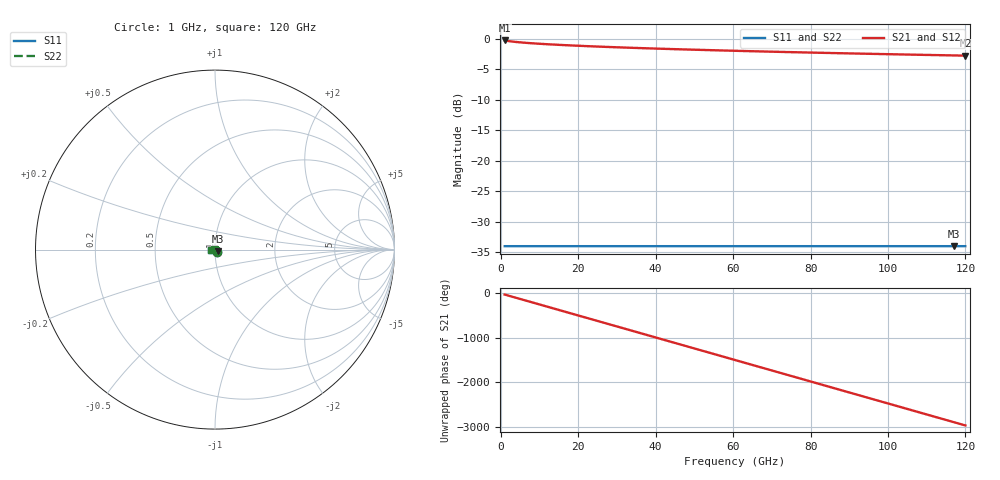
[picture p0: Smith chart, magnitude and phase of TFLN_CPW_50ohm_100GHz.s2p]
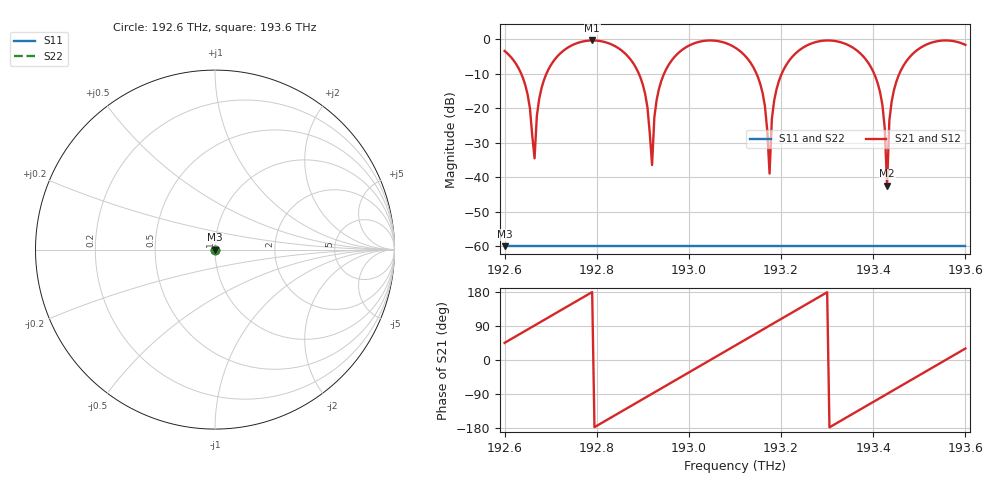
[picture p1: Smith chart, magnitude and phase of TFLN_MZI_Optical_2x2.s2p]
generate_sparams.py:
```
#!/usr/bin/env python3
"""
Touchstone S-Parameter File Generator
LightRail AI LR-P3A Rev 6.3 — Quantum Photonic Accelerator

Generates analytical S-parameter models (.s2p, .s4p) for key QPA RF
structures, suitable for import into:
  - Ansys HFSS (verification / co-simulation)
  - Ansys SIwave (channel simulation)
  - Lumerical INTERCONNECT (photonic-electronic co-simulation)
  - Keysight ADS / Cadence Virtuoso
  - Any SPICE simulator with Touchstone support

Output files:
  TFLN_CPW_50ohm_100GHz.s2p     — 2-port CPW transmission line
  TFLN_MZI_Optical_2x2.s2p      — 2-port MZI optical transfer function
  CXL_Diff_Pair_85ohm.s4p       — 4-port CXL 2.0 differential pair
  LVDS_Trigger_100ohm.s2p       — 2-port LVDS trigger channel

Usage:
    python3 generate_sparams.py
"""

import numpy as np
import os

OUTPUT_DIR = os.path.dirname(os.path.abspath(__file__))


def write_touchstone_s2p(filepath, freqs_ghz, s11, s21, s12, s22,
                         z0=50.0, comment=""):
    """Write a Touchstone v1 .s2p file (2-port, complex S-parameters)."""
    with open(filepath, "w") as f:
        f.write(f"! Touchstone S2P File\n")
        f.write(f"! LightRail AI LR-P3A Rev 6.3 — QPA\n")
        if comment:
            f.write(f"! {comment}\n")
        f.write(f"! Generated by generate_sparams.py\n")
        f.write(f"!\n")
        f.write(f"# GHz S RI R {z0:.1f}\n")
        f.write(f"! freq        Re(S11)     Im(S11)     "
                f"Re(S21)     Im(S21)     "
                f"Re(S12)     Im(S12)     "
                f"Re(S22)     Im(S22)\n")
        for i in range(len(freqs_ghz)):
            f.write(f"{freqs_ghz[i]:12.4f}  "
                    f"{s11[i].real:12.6f} {s11[i].imag:12.6f}  "
                    f"{s21[i].real:12.6f} {s21[i].imag:12.6f}  "
                    f"{s12[i].real:12.6f} {s12[i].imag:12.6f}  "
                    f"{s22[i].real:12.6f} {s22[i].imag:12.6f}\n")
    print(f"  Generated: {filepath}")


def write_touchstone_s4p(filepath, freqs_ghz, s_matrix, z0=50.0, comment=""):
    """Write a Touchstone v1 .s4p file (4-port)."""
    n_freq = len(freqs_ghz)
    with open(filepath, "w") as f:
        f.write(f"! Touchstone S4P File\n")
        f.write(f"! LightRail AI LR-P3A Rev 6.3 — QPA\n")
        if comment:
            f.write(f"! {comment}\n")
        f.write(f"!\n")
        f.write(f"# GHz S RI R {z0:.1f}\n")
        for i in range(n_freq):
            f.write(f"! f = {freqs_ghz[i]:.4f} GHz\n")
            S = s_matrix[i]
            # Row 1: S11 S12 S13 S14
            f.write(f"{freqs_ghz[i]:12.4f}")
            for j in range(4):
                f.write(f"  {S[0,j].real:12.6f} {S[0,j].imag:12.6f}")
            f.write("\n")
            # Rows 2-4
            for r in range(1, 4):
                f.write(f"             ")
                for j in range(4):
                    f.write(f"  {S[r,j].real:12.6f} {S[r,j].imag:12.6f}")
                f.write("\n")
    print(f"  Generated: {filepath}")


def generate_cpw_sparam():
    """Generate S-parameters for 50-ohm TFLN CPW (1-120 GHz).

    Models a lossy transmission line on TFLN substrate:
      - Z0 = 50 ohm (CPW on LiNbO3, er_eff ~ 17)
      - Loss: 0.5 dB/mm at 100 GHz (conductor + dielectric)
      - Length: 5 mm (DAC to TFLN electrode routing)
    """
    freqs = np.linspace(1.0, 120.0, 120)  # 1-120 GHz, 1 GHz step

    z0 = 50.0
    length_mm = 5.0
    er_eff = 17.0
    c0 = 3e8  # m/s

    # Propagation constant
    alpha_base = 0.5 / 8.686  # 0.5 dB/mm → Np/mm at 100 GHz
    alpha = alpha_base * np.sqrt(freqs / 100.0)  # freq-dependent loss
    beta = 2 * np.pi * freqs * 1e9 / c0 * np.sqrt(er_eff) * 1e-3  # rad/mm

    gamma = alpha + 1j * beta  # complex propagation constant (per mm)

    # S-parameters for lossy transmission line
    s21 = np.exp(-gamma * length_mm)
    s12 = s21  # reciprocal
    s11 = np.zeros_like(freqs, dtype=complex)  # matched termination
    s22 = np.zeros_like(freqs, dtype=complex)

    # Add small reflection from discontinuities
    s11 = 0.02 * np.exp(-1j * 2 * beta * length_mm)
    s22 = 0.02 * np.exp(-1j * 2 * beta * length_mm)

    write_touchstone_s2p(
        os.path.join(OUTPUT_DIR, "TFLN_CPW_50ohm_100GHz.s2p"),
        freqs, s11, s21, s12, s22, z0=50.0,
        comment="50-ohm CPW on TFLN substrate, 5mm length, 1-120 GHz"
    )


def generate_mzi_optical_sparam():
    """Generate optical S-parameters for MZI 2x2 coupler.

    Models the MZI as a 2-port optical device at 1550 nm:
      - Frequency axis represents optical detuning from 193.1 THz
      - S21 = MZI transfer function (bar state)
      - S11 = back-reflection (very low for TFLN)
      - Insertion loss: 0.4 dB per MZI node
      - FSR: ~4 nm for 500 um arm length
    """
    # Optical frequency range: 192-194 THz (1546-1562 nm)
    # Mapped to "GHz" offset from 193.1 THz for Touchstone compatibility
    freq_offset_ghz = np.linspace(-500, 500, 201)  # +/- 500 GHz

    # MZI parameters
    arm_length = 500e-6  # 500 um
    n_eff = 2.211
    n_group = 2.35
    delta_L = 0  # balanced MZI (no arm length difference)
    IL = 0.4  # dB insertion loss
    theta = 0.42 * np.pi  # phase bias (from mesh compiler)

    c0 = 3e8
    f0 = 193.1e12  # center frequency (Hz)

    # MZI transfer function
    delta_f = freq_offset_ghz * 1e9  # Hz
    phase = 2 * np.pi * n_group * arm_length / c0 * delta_f + theta

    # Bar and cross port transmission
    t_bar = np.cos(phase / 2) ** 2
    t_cross = np.sin(phase / 2) ** 2

    # Apply insertion loss
    il_linear = 10 ** (-IL / 20)
    s21 = np.sqrt(t_bar) * il_linear * np.exp(1j * phase / 2)
    s11 = 0.001 * np.ones_like(freq_offset_ghz, dtype=complex)  # -60 dB reflection
    s12 = s21
    s22 = s11

    write_touchstone_s2p(
        os.path.join(OUTPUT_DIR, "TFLN_MZI_Optical_2x2.s2p"),
        freq_offset_ghz + 193100,  # absolute frequency in GHz
        s11, s21, s12, s22, z0=1.0,  # Z0=1 for optical (normalized)
        comment="MZI 2x2 optical transfer, 500um arms, theta=0.42pi, "
                "freq axis = optical THz"
    )


def generate_cxl_diff_sparam():
    """Generate 4-port S-parameters for CXL 2.0 differential pair.

    Models a 85-ohm differential pair on Megtron-7:
      - Zdiff = 85 ohm
      - Zodd = 42.5 ohm
      - Loss: 0.8 dB/inch at 32 GHz (PCIe Gen 6 fundamental)
      - Length: 100 mm (FPGA to CXL switch routing)
      - FEXT/NEXT crosstalk from adjacent pairs
    """
    freqs = np.linspace(0.1, 64.0, 128)  # 0.1-64 GHz

    z0 = 42.5  # odd-mode impedance (half of differential)
    length_inch = 3.94  # 100 mm
    er_eff = 3.1  # Megtron-7 effective

    c0 = 3e8 * 39.37  # m/s to inch/s

    # Loss model (Djordjevic-Sarkar)
    alpha_dc = 0.05  # Np/inch DC resistance
    alpha_skin = 0.15 * np.sqrt(freqs / 10.0)  # skin effect
    alpha_diel = 0.08 * freqs / 10.0  # dielectric loss (tan_d = 0.002)
    alpha = alpha_dc + alpha_skin + alpha_diel

    beta = 2 * np.pi * freqs * 1e9 / c0 * np.sqrt(er_eff)
    gamma = alpha + 1j * beta

    # 4-port S-matrix: [P1+, P1-, P2+, P2-]
    # Differential mode transmission
    s_matrix = np.zeros((len(freqs), 4, 4), dtype=complex)

    s_thru = np.exp(-gamma * length_inch)
    s_refl = 0.01 * np.exp(-1j * 2 * beta * length_inch)

    # Crosstalk (NEXT and FEXT)
    next_coupling = -45  # dB
    fext_coupling = -35  # dB
    s_next = 10 ** (next_coupling / 20) * np.exp(1j * np.pi / 4)
    s_fext = 10 ** (fext_coupling / 20) * s_thru * 0.1

    for i in range(len(freqs)):
        S = np.zeros((4, 4), dtype=complex)
        # Port 1+ to Port 2+ (differential thru)
        S[0, 2] = s_thru[i]
        S[2, 0] = s_thru[i]
        # Port 1- to Port 2- (differential thru)
        S[1, 3] = s_thru[i]
        S[3, 1] = s_thru[i]
        # Reflections
        S[0, 0] = s_refl[i]
        S[1, 1] = s_refl[i]
        S[2, 2] = s_refl[i]
        S[3, 3] = s_refl[i]
        # NEXT (near-end crosstalk: + to -)
        S[0, 1] = s_next
        S[1, 0] = s_next
        S[2, 3] = s_next
        S[3, 2] = s_next
        # FEXT (far-end crosstalk)
        S[0, 3] = s_fext[i]
        S[3, 0] = s_fext[i]
        S[1, 2] = s_fext[i]
        S[2, 1] = s_fext[i]
        s_matrix[i] = S

    write_touchstone_s4p(
        os.path.join(OUTPUT_DIR, "CXL_Diff_Pair_85ohm.s4p"),
        freqs, s_matrix, z0=42.5,
        comment="CXL 2.0 differential pair, 85ohm Zdiff, 100mm on Megtron-7"
    )


def generate_lvds_sparam():
    """Generate S-parameters for LVDS trigger channel.

    Models 100-ohm differential LVDS from FPGA to DAC:
      - Zdiff = 100 ohm
      - Data rate: 500 Mbps DDR (250 MHz fundamental)
      - Length: 30 mm (short run, FPGA to adjacent DAC)
      - Low loss at these frequencies
    """
    freqs = np.linspace(0.01, 5.0, 100)  # 10 MHz to 5 GHz

    z0 = 50.0  # odd-mode
    length_mm = 30.0
    er_eff = 3.1

    c0 = 3e8 * 1e-3  # m/s to mm/s... actually let's use proper units
    c0_mm = 3e11  # mm/s

    alpha = 0.002 * np.sqrt(freqs / 1.0)  # very low loss at <5 GHz
    beta = 2 * np.pi * freqs * 1e9 / c0_mm * np.sqrt(er_eff)
    gamma = alpha + 1j * beta

    s21 = np.exp(-gamma * length_mm)
    s12 = s21
    s11 = 0.005 * np.exp(-1j * 2 * beta * length_mm)
    s22 = s11

    write_touchstone_s2p(
        os.path.join(OUTPUT_DIR, "LVDS_Trigger_100ohm.s2p"),
        freqs, s11, s21, s12, s22, z0=50.0,
        comment="LVDS trigger channel, 100ohm diff, 30mm on Megtron-7"
    )


if __name__ == "__main__":
    print("Generating Touchstone S-parameter files...")
    print(f"Output directory: {OUTPUT_DIR}")
    print()

    generate_cpw_sparam()
    generate_mzi_optical_sparam()
    generate_cxl_diff_sparam()
    generate_lvds_sparam()

    print()
    print("Done. S-parameter files ready for import into:")
    print("  - Ansys HFSS / SIwave")
    print("  - Lumerical INTERCONNECT")
    print("  - Keysight ADS")
    print("  - Any Touchstone-compatible tool")
```
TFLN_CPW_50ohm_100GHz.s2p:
! Touchstone S2P File
! LightRail AI LR-P3A Rev 6.3 — QPA
! 50-ohm CPW on TFLN substrate, 5mm length, 1-120 GHz
! Generated by generate_sparams.py
# GHz S RI R 50.0
! freq  Re(S11)  Im(S11)  Re(S21)  Im(S21)  Re(S12)  Im(S12)  Re(S22)  Im(S22)
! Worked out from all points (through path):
!   120 points, 1 GHz to 120 GHz, reference 50 ohm
!   highest |S21| = -0.25 dB at 1 GHz (marker M1); lowest = -2.7 dB at 120 GHz (marker M2)
!   group delay of S21, straight-line fit = 68.7 ps
!   lowest |S11| = -34.0 dB at 117 GHz (marker M3), VSWR 1.04, Z = 51.8 - j0.999 ohm
!   |S11| at or under -10 dB: start of sweep to end of sweep
!   |S22| runs from -34.0 to -34.0 dB; largest |S21 - S12| = 0
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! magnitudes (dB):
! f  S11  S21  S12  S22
! 1 GHz  -34.0  -0.2  -0.2  -34.0
! 3 GHz  -34.0  -0.4  -0.4  -34.0
! 7 GHz  -34.0  -0.7  -0.7  -34.0
! 12 GHz  -34.0  -0.9  -0.9  -34.0
! 19 GHz  -34.0  -1.1  -1.1  -34.0
! 27 GHz  -34.0  -1.3  -1.3  -34.0
! 37 GHz  -34.0  -1.5  -1.5  -34.0
! 61 GHz  -34.0  -2.0  -2.0  -34.0
! 87 GHz  -34.0  -2.3  -2.3  -34.0
! 117 GHz  -34.0  -2.7  -2.7  -34.0
! 120 GHz  -34.0  -2.7  -2.7  -34.0
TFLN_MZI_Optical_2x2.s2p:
! Touchstone S2P File
! LightRail AI LR-P3A Rev 6.3 — QPA
! MZI 2x2 optical transfer, 500um arms, theta=0.42pi, freq axis = optical THz
! Generated by generate_sparams.py
# GHz S RI R 1.0
! freq  Re(S11)  Im(S11)  Re(S21)  Im(S21)  Re(S12)  Im(S12)  Re(S22)  Im(S22)
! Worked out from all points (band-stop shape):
!   201 points, 192.6 THz to 193.6 THz, reference 1 ohm
!   highest |S21| = -0.40 dB at 192.79 THz (marker M1); lowest = -42.5 dB at 193.43 THz (marker M2)
!   |S21| within 3 dB of the highest: 192.9827 THz to 193.1101 THz (127.4 GHz wide, 0.066 % of centre); 193.238 THz to 193.3654 THz (127.4 GHz wide, 0.0659 % of centre)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
!   lowest |S11| = -60.0 dB at 192.6 THz (marker M3), VSWR 1.00, Z = 1 + j0 ohm
!   |S11| at or under -10 dB: start of sweep to end of sweep
!   |S22| runs from -60.0 to -60.0 dB; largest |S21 - S12| = 0
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192600  0.001 0  0.4725 0.4775  0.4725 0.4775  0.001 0
192665  0.001 0  -0.000368 0.0187  -0.000368 0.0187  0.001 0
192790  0.001 0  -0.9548 0.0125  -0.9548 0.0125  0.001 0
192920  0.001 0  0.000236 -0.015  0.000236 -0.015  0.001 0
193100  0.001 0  0.5962 0.4625  0.5962 0.4625  0.001 0
193175  0.001 0  -0.000133 0.0112  -0.000133 0.0112  0.001 0
193220  0.001 0  -0.2742 0.4321  -0.2742 0.4321  0.001 0
193370  0.001 0  -0.4251 -0.4746  -0.4251 -0.4746  0.001 0
193430  0.001 0  5.9e-05 -0.0075  5.9e-05 -0.0075  0.001 0
193465  0.001 0  0.1722 -0.3671  0.1722 -0.3671  0.001 0
193600  0.001 0  0.7119 0.416  0.7119 0.416  0.001 0
